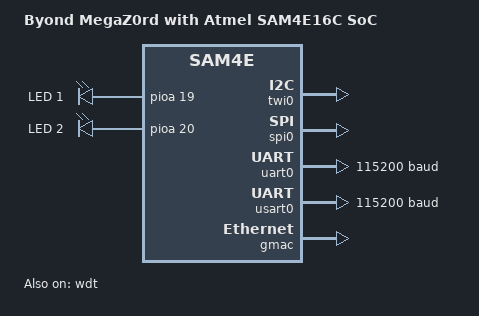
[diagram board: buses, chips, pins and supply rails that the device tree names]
/*
 * Copyright (c) 2019-2020 Gerson Fernando Budke
 *
 * SPDX-License-Identifier: Apache-2.0
 */

/dts-v1/;

#include <atmel/sam4e16c.dtsi>

/ {
	model = "Byond MegaZ0rd with Atmel SAM4E16C SoC";
	compatible = "byond,megaz0rd", "atmel,sam4e16c", "atmel,sam4e";

	aliases {
		i2c-0 = &twi0;
		led0 = &red_led_1;
		led1 = &orange_led_1;
		wdog = &wdt;
	};

	chosen {
		zephyr,console = &uart0;
		zephyr,shell-uart = &uart0;
		zephyr,sram = &sram0;
		zephyr,flash = &flash0;
	};

	leds {
		compatible = "gpio-leds";
		red_led_1: led_1 {
			gpios = <&pioa 19 GPIO_ACTIVE_HIGH>;
			label = "LED 1";
		};
		orange_led_1: led_2 {
			gpios = <&pioa 20 GPIO_ACTIVE_HIGH>;
			label = "LED 2";
		};
	};
};

&cpu0 {
	clock-frequency = <120000000>;
};

&twi0 {
	status = "okay";
};

&spi0 {
	status = "okay";
};

&uart0 {
	current-speed = <115200>;
	status = "okay";
};

&usart0 {
	status = "okay";
	current-speed = <115200>;

	pinctrl-0 = <&pb0c_usart0_rxd0 &pb1c_usart0_txd0>;
};

&gmac {
	status = "okay";
	zephyr,random-mac-address;
};

&wdt {
	status = "okay";
};
